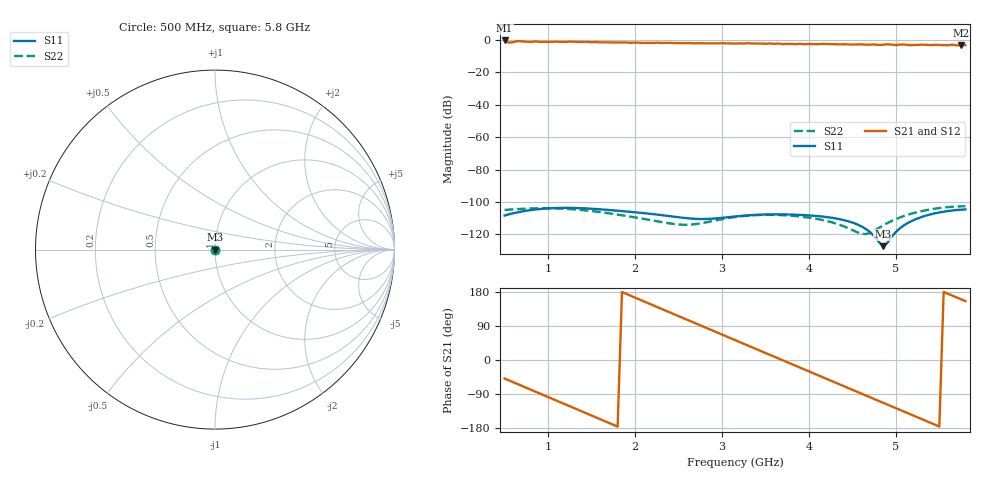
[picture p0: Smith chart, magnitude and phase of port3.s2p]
# GHZ S RI R 50
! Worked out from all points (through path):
!   107 points, 500 MHz to 5.8 GHz, reference 50 ohm
!   highest |S21| = -0.44 dB at 500 MHz (marker M1); lowest = -3.5 dB at 5.75 GHz (marker M2)
!   group delay of S21, straight-line fit = 270 ps
!   lowest |S11| = -127.2 dB at 4.85 GHz (marker M3), VSWR 1.00, Z = 50 - j2.85e-06 ohm
!   |S11| at or under -10 dB: start of sweep to end of sweep
!   |S22| runs from -119.8 to -102.6 dB; largest |S21 - S12| = 2e-15
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0.5  1.24e-06 3.63e-06  0.6255 -0.7163  0.6255 -0.7163  3.84e-06 4.2e-06
0.55  1.81e-06 3.76e-06  0.4811 -0.6563  0.4811 -0.6563  4e-06 4.23e-06
0.65  3.04e-06 3.74e-06  0.4069 -0.817  0.4069 -0.817  4.35e-06 4.21e-06
0.85  5.32e-06 2.45e-06  0.1074 -0.8819  0.1074 -0.8819  5.07e-06 3.85e-06
1.1  6.47e-06 -9.11e-07  -0.2632 -0.8363  -0.2632 -0.8363  5.65e-06 2.85e-06
1.4  4.15e-06 -4.89e-06  -0.6273 -0.59  -0.6273 -0.59  5.42e-06 1.43e-06
1.55  1.86e-06 -5.8e-06  -0.746 -0.4068  -0.746 -0.4068  4.99e-06 8.78e-07
1.85  -2.74e-06 -4.47e-06  -0.8236 0.00981  -0.8236 0.00981  3.88e-06 3.33e-07
2.3  -3.65e-06 1.55e-06  -0.5669 0.5588  -0.5669 0.5588  2.37e-06 5.17e-07
2.75  1.61e-06 2.53e-06  -0.0212 0.7843  -0.0212 0.7843  1.42e-06 1.66e-06
3.15  3.04e-06 -1.88e-06  0.464 0.6069  0.464 0.6069  1.92e-06 2.85e-06
3.3  1.99e-06 -3.33e-06  0.6175 0.4826  0.6175 0.4826  2.38e-06 2.97e-06
3.65  -1.9e-06 -3.7e-06  0.7624 0.0532  0.7624 0.0532  3.19e-06 2.39e-06
4.05  -3.78e-06 6.08e-08  0.6028 -0.4199  0.6028 -0.4199  2.89e-06 1.22e-06
4.4  -1.64e-06 2.25e-06  0.2627 -0.6787  0.2627 -0.6787  1.66e-06 6.67e-07
4.6  -1.6e-07 1.79e-06  0.0219 -0.7208  0.0219 -0.7208  6.67e-07 8.22e-07
4.85  4.35e-07 -2.85e-08  -0.2684 -0.6473  -0.2684 -0.6473  -5.39e-07 1.8e-06
4.95  1.19e-07 -8.27e-07  -0.3796 -0.6023  -0.3796 -0.6023  -8.67e-07 2.45e-06
5.3  -2.85e-06 -1.98e-06  -0.6489 -0.2868  -0.6489 -0.2868  -4.93e-07 5.24e-06
5.65  -5.44e-06 6.26e-07  -0.6947 0.1231  -0.6947 0.1231  2.3e-06 6.74e-06
5.75  -5.53e-06 1.79e-06  -0.632 0.2266  -0.632 0.2266  3.26e-06 6.6e-06
5.8  -5.43e-06 2.38e-06  -0.6273 0.2866  -0.6273 0.2866  3.71e-06 6.44e-06
